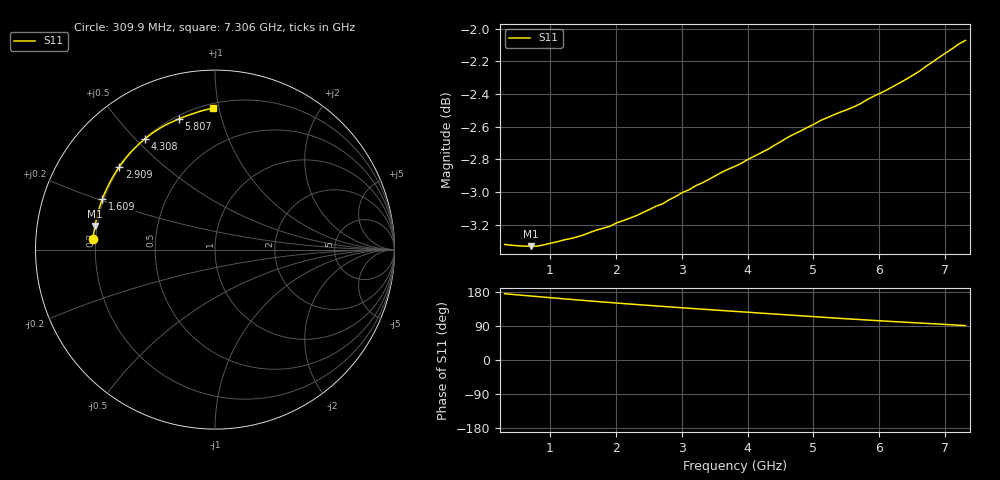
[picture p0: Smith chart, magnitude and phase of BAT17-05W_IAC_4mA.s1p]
! Infineon Technologies  Discrete & RF Semiconductors
! BAT17-05W
! IAC = 4 mA
! One-Port S-Parameters
# Hz  S  MA  R  50
!f  S11
!Hz  Mag  Ang
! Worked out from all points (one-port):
!   71 points, 309.9 MHz to 7.306 GHz, reference 50 ohm
!   lowest |S11| = -3.3 dB at 709.6 MHz (marker M1), VSWR 5.28, Z = 9.56 + j4.71 ohm
!   |S11| at or under -10 dB: nowhere
!   S11 on the Smith chart (normalised r, x): 309.9 MHz: 0.19, +0.04; 1.609 GHz: 0.19, +0.21; 2.909 GHz: 0.20, +0.36; 4.308 GHz: 0.20, +0.53; 5.807 GHz: 0.22, +0.74; 7.306 GHz: 0.23, +0.96
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3.0985e8  0.6823 174.9
5.0975e8  0.6817 171.8
7.0965e8  0.6815 168.8
1.0095e9  0.6829 164.4
1.2094e9  0.6845 161.5
1.6092e9  0.6882 155.8
1.8091e9  0.6902 153.0
2.10895e9  0.6938 149.0
2.6087e9  0.7009 142.7
2.90855e9  0.7058 139.0
3.0085e9  0.7077 137.8
3.2084e9  0.7111 135.4
3.50825e9  0.7161 131.8
3.8081e9  0.7209 128.3
4.008e9  0.7245 126.0
4.30785e9  0.7296 122.5
4.50775e9  0.7336 120.2
4.70765e9  0.7375 117.8
4.90755e9  0.7409 115.5
5.2074e9  0.746 112.1
5.4073e9  0.7489 109.8
5.6072e9  0.7517 107.7
5.8071e9  0.7554 105.6
6.2069e9  0.7626 101.5
6.50675e9  0.7686 98.6
6.90655e9  0.7783 94.8
7.2064e9  0.7858 91.8
7.30635e9  0.7877 90.8
